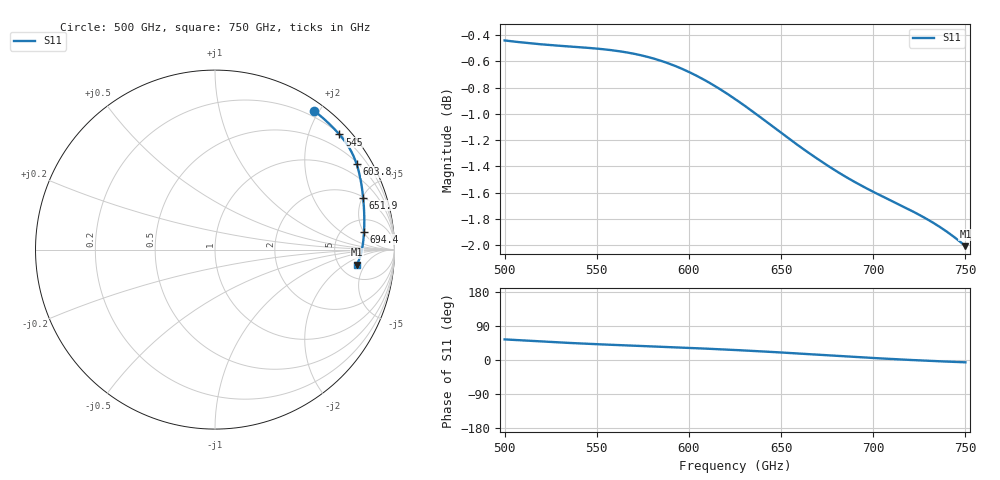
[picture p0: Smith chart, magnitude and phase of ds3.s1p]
# GHz S RI R 50.0
!freq	ReS11	ImS11
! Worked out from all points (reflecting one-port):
!   401 points, 500 GHz to 750 GHz, reference 50 ohm
!   lowest |S11| = -2.0 dB at 750 GHz (marker M1), VSWR 8.69, Z = 359 - j164 ohm
!   phase of S11 starts at 54 deg and turns -60 deg over the sweep
!   S11 on the Smith chart (normalised r, x): 500 GHz: 0.12, +1.94; 545 GHz: 0.21, +2.54; 603.8 GHz: 0.55, +3.51; 651.9 GHz: 2.06, +5.07; 694.4 GHz: 7.75, +5.16; 750 GHz: 7.17, -3.28
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500  0.5538 0.7724
501.25  0.5582 0.7689
504.375  0.5694 0.76
518.75  0.6189 0.7172
525  0.6388 0.6985
531.25  0.6573 0.6801
538.125  0.676 0.6605
545  0.693 0.6414
553.75  0.7125 0.6178
562.5  0.7298 0.5947
577.5  0.755 0.5546
593.75  0.7774 0.508
603.75  0.7889 0.4766
614.375  0.7996 0.4405
625  0.8088 0.4013
637.5  0.8177 0.3513
651.875  0.8253 0.2893
656.25  0.8271 0.2698
671.875  0.8313 0.199
687.5  0.8315 0.1293
694.375  0.8303 0.1
706.875  0.8263 0.0498
718.75  0.82 0.0067
726.875  0.8142 -0.0201
735  0.8069 -0.0448
744.375  0.7965 -0.0706
748.75  0.7909 -0.0816
750  0.7892 -0.0846
